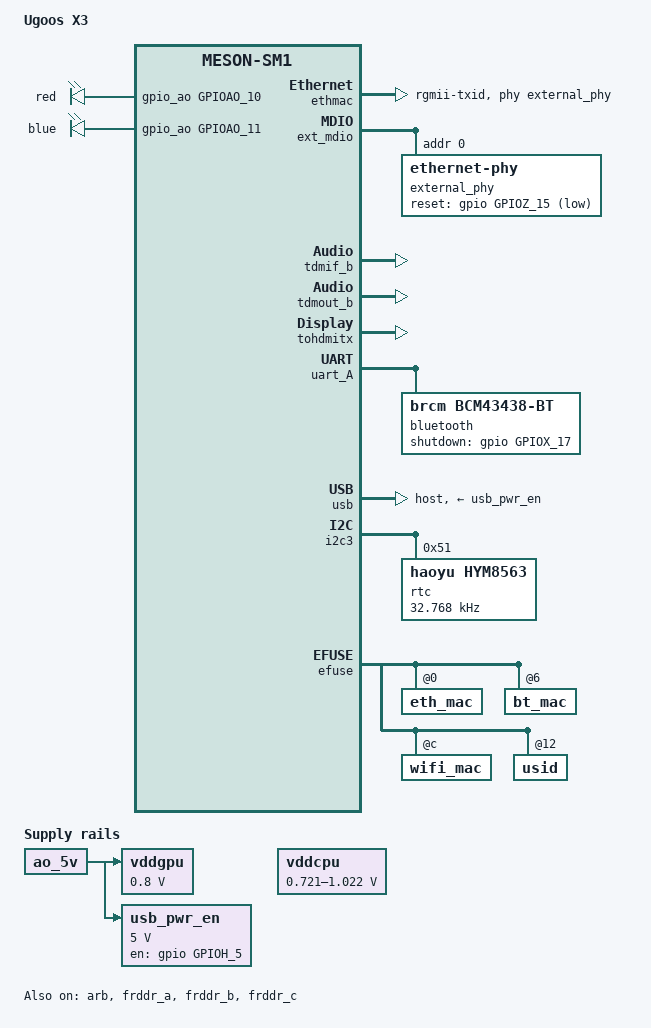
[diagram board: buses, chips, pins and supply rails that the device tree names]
// SPDX-License-Identifier: (GPL-2.0+ OR MIT)
/*
 * Copyright (c) 2019 BayLibre SAS. All rights reserved.
 * Copyright (c) 2020 Christian Hewitt <christianshewitt@gmail.com>
 * Copyright (c) 2021 flippy <uniqfreq@gmail.com>
 */

/dts-v1/;

#include "meson-sm1-ac2xx.dtsi"
#include <dt-bindings/sound/meson-g12a-tohdmitx.h>

/ {
	compatible = "amlogic,sm1";
	model = "Ugoos X3";

	aliases {
		rtc0 = &rtc;
		rtc1 = &vrtc;
		mmc0 = &sd_emmc_a;
		mmc1 = &sd_emmc_b;
		mmc2 = &sd_emmc_c;
	};

	leds {
		compatible = "gpio-leds";

		red_led {
			label = "red";
			gpios = <&gpio_ao GPIOAO_10 GPIO_ACTIVE_HIGH>;
			default-state = "on";
		};

		blue_led {
			label = "blue";
			gpios = <&gpio_ao GPIOAO_11 GPIO_ACTIVE_HIGH>;
			default-state = "on";
		};
	};

	sound {
		compatible = "amlogic,axg-sound-card";
		model = "UGOOS-X3";
		audio-aux-devs = <&tdmout_b>;
		audio-routing = "TDMOUT_B IN 0", "FRDDR_A OUT 1",
				"TDMOUT_B IN 1", "FRDDR_B OUT 1",
				"TDMOUT_B IN 2", "FRDDR_C OUT 1",
				"TDM_B Playback", "TDMOUT_B OUT";

		assigned-clocks = <&clkc CLKID_MPLL2>,
				  <&clkc CLKID_MPLL0>,
				  <&clkc CLKID_MPLL1>;
		assigned-clock-parents = <0>, <0>, <0>;
		assigned-clock-rates = <294912000>,
				       <270950400>,
				       <393216000>;
		status = "okay";

		dai-link-0 {
			sound-dai = <&frddr_a>;
		};

		dai-link-1 {
			sound-dai = <&frddr_b>;
		};

		dai-link-2 {
			sound-dai = <&frddr_c>;
		};

		/* 8ch hdmi interface */
		dai-link-3 {
			sound-dai = <&tdmif_b>;
			dai-format = "i2s";
			dai-tdm-slot-tx-mask-0 = <1 1>;
			dai-tdm-slot-tx-mask-1 = <1 1>;
			dai-tdm-slot-tx-mask-2 = <1 1>;
			dai-tdm-slot-tx-mask-3 = <1 1>;
			mclk-fs = <256>;

			codec {
				sound-dai = <&tohdmitx TOHDMITX_I2S_IN_B>;
			};
		};

		/* hdmi glue */
		dai-link-4 {
			sound-dai = <&tohdmitx TOHDMITX_I2S_OUT>;

			codec {
				sound-dai = <&hdmi_tx>;
			};
		};
	};

	vddgpu: regulator-vddgpu {
		compatible = "regulator-fixed";
		regulator-name = "mali";
		regulator-min-microvolt = <800000>;
		regulator-max-microvolt = <800000>;
		vin-supply = <&ao_5v>;
		regulator-always-on;
	};

	usb_pwr_en: regulator-usb-pwr-en {
		compatible = "regulator-fixed";
		regulator-name = "USB_PWR_EN";
		regulator-min-microvolt = <5000000>;
		regulator-max-microvolt = <5000000>;
		vin-supply = <&ao_5v>;

		gpio = <&gpio GPIOH_5 GPIO_ACTIVE_HIGH>;
		enable-active-high;
	};
};

&vddcpu {
	regulator-min-microvolt = <721000>;
	regulator-max-microvolt = <1022000>;
	pwms = <&pwm_AO_cd 1 1250 0>;
};

&arb {
	status = "okay";
};

&clkc_audio {
	status = "okay";
};

&ethmac {
	status = "okay";

	pinctrl-0 = <&eth_pins>, <&eth_rgmii_pins>;
	pinctrl-names = "default";
	phy-mode = "rgmii-txid";
	phy-handle = <&external_phy>;

	rx-internal-delay-ps = <800>;

	snps,aal;
	snps,rxpbl = <0x8>;
	snps,txpbl = <0x8>;

	rx-fifo-depth = <4096>;
	tx-fifo-depth = <4096>;

	nvmem-cells = <&eth_mac>;
	nvmem-cell-names = "eth_mac";
};

&ext_mdio {
	external_phy: ethernet-phy@0 {
		/* Realtek RTL8211F (0x001cc916) */
		reg = <0>;
		max-speed = <1000>;

		reset-assert-us = <10000>;
		reset-deassert-us = <80000>;
		reset-gpios = <&gpio GPIOZ_15 (GPIO_ACTIVE_LOW | GPIO_OPEN_DRAIN)>;

		interrupt-parent = <&gpio_intc>;
		/* MAC_INTR on GPIOZ_14 */
		interrupts = <IRQID_GPIOZ_14 IRQ_TYPE_LEVEL_LOW>;
	};
};

&frddr_a {
	status = "okay";
};

&frddr_b {
	status = "okay";
};

&frddr_c {
	status = "okay";
};

&tdmif_b {
	status = "okay";
};

&tdmout_b {
	status = "okay";
};

&tohdmitx {
	status = "okay";
};

&uart_A {
	status = "okay";

	pinctrl-0 = <&uart_a_pins>, <&uart_a_cts_rts_pins>;
	pinctrl-names = "default";
	uart-has-rtscts;

	bluetooth {
		compatible = "brcm,bcm43438-bt";
		shutdown-gpios = <&gpio GPIOX_17 GPIO_ACTIVE_HIGH>;
		max-speed = <2000000>;
		clocks = <&wifi32k>;
		clock-names = "lpo";
	};
};

&mali {
	mali-supply=<&vddgpu>;
};

&usb {
	dr_mode = "host";
	vbus-supply = <&usb_pwr_en>;
};

&usb2_phy0 {
	phy-supply = <&ao_5v>;
};

&usb2_phy1 {
	phy-supply = <&ao_5v>;
};

&i2c3 {
	status = "okay";
	pinctrl-0 = <&i2c3_sda_a_pins>, <&i2c3_sck_a_pins>;
	pinctrl-names = "default";

	rtc: rtc@51 {
		compatible = "haoyu,hym8563";
		reg = <0x51>;
		wakeup-source;

		#clock-cells = <0>;
		clock-frequency = <32768>;
		clock-output-names = "xin32k";
	};
};

/* SDIO */
&sd_emmc_a {
	/delete-property/ sd-uhs-sdr104;
	sd-uhs-sdr50;
	max-frequency = <100000000>;

        //sd-uhs-ddr50;
	//max-frequency = <50000000>;

	//sd-uhs-sdr104;
	//max-frequency = <200000000>;
};

/* SD card */
&sd_emmc_b {
	cap-sd-highspeed;
	max-frequency = <100000000>;
};

/* eMMC */
&sd_emmc_c {
	max-frequency = <200000000>;
};

&cpu_opp_table {
	opp-2016000000 {
		opp-hz = /bits/ 64 <2016000000>;
		opp-microvolt = <1000000>;
	};
};

&efuse {
	eth_mac: eth_mac@0 {
		reg = <0x0 0x06>;
	};

	bt_mac: bt_mac@6 {
		reg = <0x6 0x06>;
	};

	wifi_mac: wifi_mac@12 {
		reg = <0x0c 0x06>;
	};

	usid: usid@18 {
		reg = <0x12 0x10>;
	};
};
/*
&openvfd {
	status = "disabled";
};
*/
